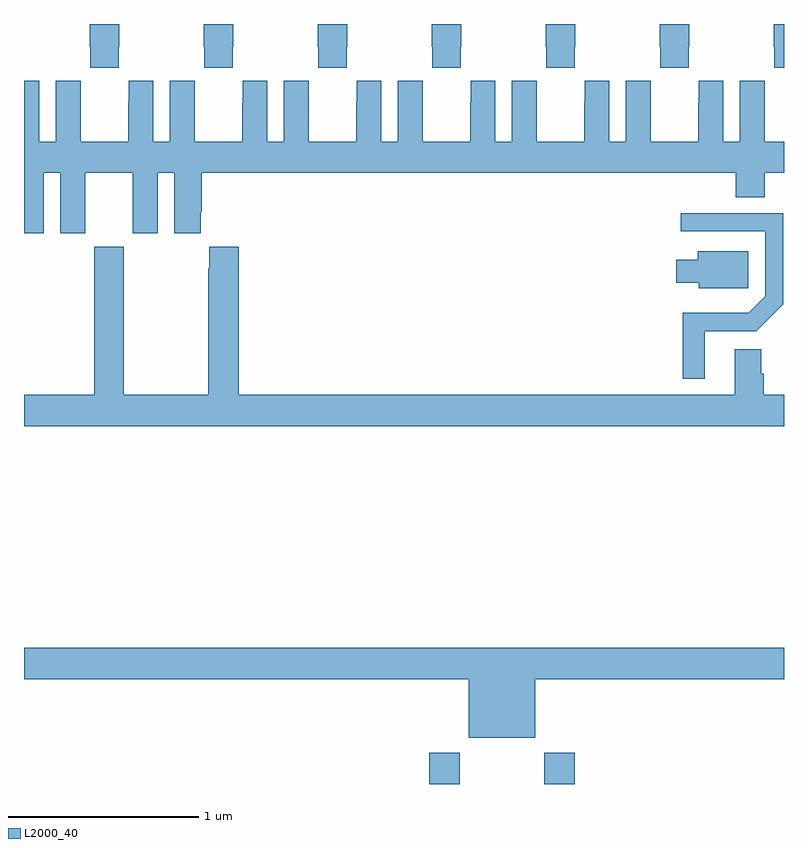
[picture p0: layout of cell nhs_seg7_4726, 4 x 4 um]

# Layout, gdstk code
import gdstk
lib = gdstk.Library(unit=1e-6, precision=1e-09)
def R(c, l, rs):  # rectangles x0, y0, x1, y1
    for r in rs: c.add(gdstk.rectangle(r[:2], r[2:], *l))
def P(c, l, *ps):  # polygons
    for p in ps: c.add(gdstk.Polygon(p, *l))
L2000_40 = (2000, 40)

nhs_seg7_4726 = lib.new_cell('nhs_seg7_4726')
R(nhs_seg7_4726, L2000_40, [(409.133,1064,409.293,1064.164), (409.738,1064,409.898,1064.164)])
P(nhs_seg7_4726, L2000_40, [(409.899,1067.881),(409.902,1067.881),(409.902,1068),(409.747,1068),(409.747,1067.881),(409.749,1067.881),(409.749,1067.769),(409.899,1067.769)],
  [(410.499,1067.881),(410.502,1067.881),(410.502,1068),(410.347,1068),(410.347,1067.881),(410.349,1067.881),(410.349,1067.769),(410.499,1067.769)],
  [(409.299,1067.881),(409.302,1067.881),(409.302,1068),(409.147,1068),(409.147,1067.881),(409.149,1067.881),(409.149,1067.769),(409.299,1067.769)],
  [(408.699,1067.881),(408.702,1067.881),(408.702,1068),(408.547,1068),(408.547,1067.881),(408.549,1067.881),(408.549,1067.769),(408.699,1067.769)],
  [(408.099,1067.881),(408.102,1067.881),(408.102,1068),(407.947,1068),(407.947,1067.881),(407.949,1067.881),(407.949,1067.769),(408.099,1067.769)],
  [(407.499,1067.881),(407.502,1067.881),(407.502,1068),(407.347,1068),(407.347,1067.881),(407.349,1067.881),(407.349,1067.769),(407.499,1067.769)],
  [(411,1068),(410.947,1068),(410.947,1067.881),(410.949,1067.881),(410.949,1067.769),(411,1067.769)],
  [(407.104,1067.216),(407.192,1067.216),(407.192,1066.899),(407.323,1066.899),(407.323,1067.216),(407.573,1067.216),(407.573,1066.899),(407.704,1066.899),(407.704,1067.216),(407.792,1067.216),(407.792,1066.899),(407.929,1066.899),(407.929,1067.011),(407.936,1067.011),(407.936,1067.216),(410.747,1067.216),(410.747,1067.089),(410.899,1067.089),(410.899,1067.216),(411,1067.216),(411,1067.38),(410.899,1067.38),(410.899,1067.588),(410.898,1067.588),(410.898,1067.701),(410.768,1067.701),(410.768,1067.38),(410.68,1067.38),(410.68,1067.701),(410.55,1067.701),(410.55,1067.588),(410.549,1067.588),(410.549,1067.38),(410.299,1067.38),(410.299,1067.588),(410.298,1067.588),(410.298,1067.701),(410.168,1067.701),(410.168,1067.38),(410.08,1067.38),(410.08,1067.701),(409.95,1067.701),(409.95,1067.588),(409.949,1067.588),(409.949,1067.38),(409.699,1067.38),(409.699,1067.588),(409.698,1067.588),(409.698,1067.701),(409.568,1067.701),(409.568,1067.38),(409.48,1067.38),(409.48,1067.701),(409.35,1067.701),(409.35,1067.588),(409.349,1067.588),(409.349,1067.38),(409.099,1067.38),(409.099,1067.588),(409.098,1067.588),(409.098,1067.701),(408.968,1067.701),(408.968,1067.38),(408.88,1067.38),(408.88,1067.701),(408.75,1067.701),(408.75,1067.588),(408.749,1067.588),(408.749,1067.38),(408.499,1067.38),(408.499,1067.588),(408.498,1067.588),(408.498,1067.701),(408.368,1067.701),(408.368,1067.38),(408.28,1067.38),(408.28,1067.701),(408.15,1067.701),(408.15,1067.588),(408.149,1067.588),(408.149,1067.38),(407.899,1067.38),(407.899,1067.588),(407.898,1067.588),(407.898,1067.701),(407.768,1067.701),(407.768,1067.38),(407.68,1067.38),(407.68,1067.701),(407.55,1067.701),(407.55,1067.588),(407.549,1067.588),(407.549,1067.38),(407.299,1067.38),(407.299,1067.588),(407.298,1067.588),(407.298,1067.701),(407.168,1067.701),(407.168,1067.38),(407.08,1067.38),(407.08,1067.701),(407,1067.701),(407,1066.899),(407.104,1066.899)],
  [(410.584,1066.383),(410.854,1066.383),(410.997,1066.526),(410.997,1067.004),(410.457,1067.004),(410.457,1066.908),(410.901,1066.908),(410.901,1066.566),(410.815,1066.48),(410.467,1066.48),(410.467,1066.134),(410.584,1066.134)],
  [(411,1066.048),(410.894,1066.048),(410.894,1066.16),(410.881,1066.16),(410.881,1066.288),(410.741,1066.288),(410.741,1066.048),(408.131,1066.048),(408.131,1066.828),(407.975,1066.828),(407.975,1066.715),(407.971,1066.715),(407.971,1066.048),(407.526,1066.048),(407.526,1066.828),(407.371,1066.828),(407.371,1066.048),(407,1066.048),(407,1065.884),(411,1065.884)],
  [(410.811,1066.804),(410.546,1066.804),(410.546,1066.759),(410.432,1066.759),(410.432,1066.637),(410.55,1066.637),(410.55,1066.61),(410.811,1066.61)],
  [(409.69,1064.552),(411,1064.552),(411,1064.716),(407,1064.716),(407,1064.552),(409.34,1064.552),(409.34,1064.243),(409.69,1064.243)])

lib.write_gds('nhs_seg7_4726.gds')
